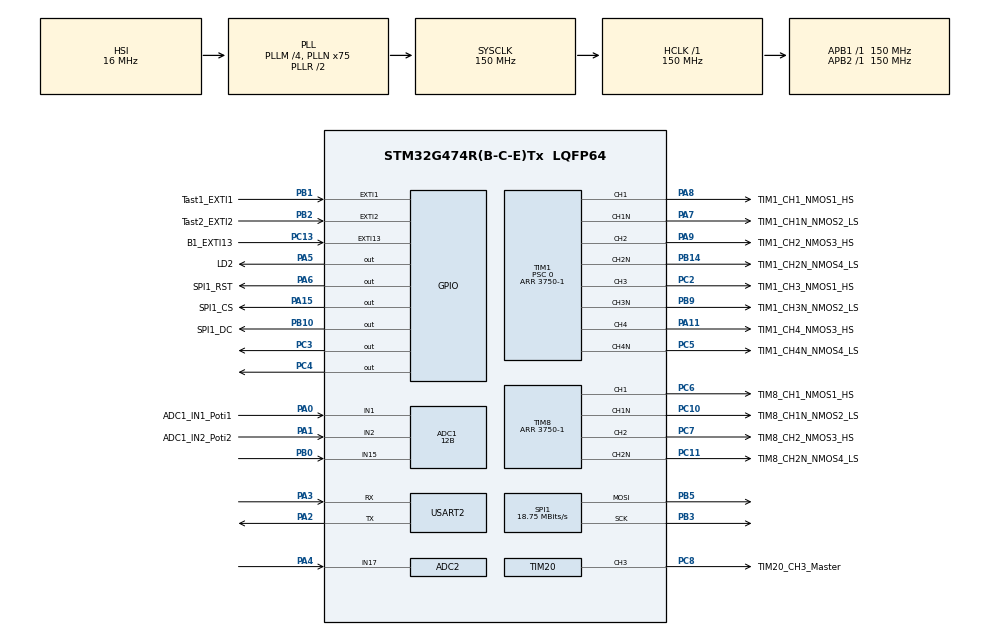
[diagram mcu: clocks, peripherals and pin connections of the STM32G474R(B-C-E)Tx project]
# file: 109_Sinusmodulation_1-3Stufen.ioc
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ADC1.Channel-2\#ChannelRegularConversion=ADC_CHANNEL_1
ADC1.Channel-3\#ChannelRegularConversion=ADC_CHANNEL_2
ADC1.Channel-4\#ChannelRegularConversion=ADC_CHANNEL_15
ADC1.ContinuousConvMode=ENABLE
ADC1.DMAContinuousRequests=ENABLE
ADC1.EOCSelection=ADC_EOC_SEQ_CONV
ADC1.NbrOfConversion=3
ADC1.NbrOfConversionFlag=1
ADC1.OffsetNumber-2\#ChannelRegularConversion=ADC_OFFSET_NONE
ADC1.OffsetNumber-3\#ChannelRegularConversion=ADC_OFFSET_NONE
ADC1.OffsetNumber-4\#ChannelRegularConversion=ADC_OFFSET_NONE
ADC1.Overrun=ADC_OVR_DATA_PRESERVED
ADC1.Rank-2\#ChannelRegularConversion=1
ADC1.Rank-3\#ChannelRegularConversion=2
ADC1.Rank-4\#ChannelRegularConversion=3
ADC1.Resolution=ADC_RESOLUTION_12B
ADC1.SamplingTime-2\#ChannelRegularConversion=ADC_SAMPLETIME_640CYCLES_5
ADC1.SamplingTime-3\#ChannelRegularConversion=ADC_SAMPLETIME_640CYCLES_5
ADC1.SamplingTime-4\#ChannelRegularConversion=ADC_SAMPLETIME_640CYCLES_5
ADC1.master=1
ADC2.Channel-0\#ChannelRegularConversion=ADC_CHANNEL_17
ADC2.ContinuousConvMode=ENABLE
ADC2.DMAContinuousRequests=ENABLE
ADC2.EOCSelection=ADC_EOC_SEQ_CONV
ADC2.NbrOfConversion=1
ADC2.NbrOfConversionFlag=1
ADC2.OffsetNumber-0\#ChannelRegularConversion=ADC_OFFSET_NONE
ADC2.Overrun=ADC_OVR_DATA_PRESERVED
ADC2.Rank-0\#ChannelRegularConversion=1
ADC2.Resolution=ADC_RESOLUTION_12B
ADC2.SamplingTime-0\#ChannelRegularConversion=ADC_SAMPLETIME_640CYCLES_5
Dma.ADC1.0.Direction=DMA_PERIPH_TO_MEMORY
Dma.ADC1.0.EventEnable=DISABLE
Dma.ADC1.0.Instance=DMA2_Channel1
Dma.ADC1.0.MemDataAlignment=DMA_MDATAALIGN_WORD
Dma.ADC1.0.MemInc=DMA_MINC_ENABLE
Dma.ADC1.0.Mode=DMA_CIRCULAR
Dma.ADC1.0.PeriphDataAlignment=DMA_PDATAALIGN_WORD
Dma.ADC1.0.PeriphInc=DMA_PINC_DISABLE
Dma.ADC1.0.Polarity=HAL_DMAMUX_REQ_GEN_RISING
Dma.ADC1.0.Priority=DMA_PRIORITY_LOW
Dma.ADC1.0.RequestNumber=1
Dma.ADC1.0.SignalID=NONE
Dma.ADC1.0.SyncEnable=DISABLE
Dma.ADC1.0.SyncPolarity=HAL_DMAMUX_SYNC_NO_EVENT
Dma.ADC1.0.SyncRequestNumber=1
Dma.ADC1.0.SyncSignalID=NONE
Dma.ADC2.1.Direction=DMA_PERIPH_TO_MEMORY
Dma.ADC2.1.EventEnable=DISABLE
Dma.ADC2.1.Instance=DMA1_Channel5
Dma.ADC2.1.MemDataAlignment=DMA_MDATAALIGN_WORD
Dma.ADC2.1.MemInc=DMA_MINC_ENABLE
Dma.ADC2.1.Mode=DMA_CIRCULAR
Dma.ADC2.1.PeriphDataAlignment=DMA_PDATAALIGN_WORD
Dma.ADC2.1.PeriphInc=DMA_PINC_DISABLE
Dma.ADC2.1.Polarity=HAL_DMAMUX_REQ_GEN_RISING
Dma.ADC2.1.Priority=DMA_PRIORITY_LOW
Dma.ADC2.1.RequestNumber=1
Dma.ADC2.1.SignalID=NONE
Dma.ADC2.1.SyncEnable=DISABLE
Dma.ADC2.1.SyncPolarity=HAL_DMAMUX_SYNC_NO_EVENT
Dma.ADC2.1.SyncRequestNumber=1
Dma.ADC2.1.SyncSignalID=NONE
Dma.Request0=ADC1
Dma.Request1=ADC2
Dma.Request2=TIM1_CH1
Dma.Request3=TIM1_CH2
Dma.Request4=TIM1_CH3
Dma.Request5=TIM1_CH4
Dma.Request6=TIM8_CH1
Dma.Request7=TIM8_CH2
Dma.TIM1_CH1.2.Direction=DMA_MEMORY_TO_PERIPH
Dma.TIM1_CH1.2.EventEnable=DISABLE
Dma.TIM1_CH1.2.Instance=DMA1_Channel1
Dma.TIM1_CH1.2.MemDataAlignment=DMA_MDATAALIGN_WORD
Dma.TIM1_CH1.2.MemInc=DMA_MINC_ENABLE
Dma.TIM1_CH1.2.Mode=DMA_CIRCULAR
Dma.TIM1_CH1.2.PeriphDataAlignment=DMA_PDATAALIGN_WORD
Dma.TIM1_CH1.2.PeriphInc=DMA_PINC_DISABLE
Dma.TIM1_CH1.2.Polarity=HAL_DMAMUX_REQ_GEN_RISING
Dma.TIM1_CH1.2.Priority=DMA_PRIORITY_LOW
Dma.TIM1_CH1.2.RequestNumber=1
Dma.TIM1_CH1.2.SignalID=NONE
Dma.TIM1_CH1.2.SyncEnable=DISABLE
Dma.TIM1_CH1.2.SyncPolarity=HAL_DMAMUX_SYNC_NO_EVENT
Dma.TIM1_CH1.2.SyncRequestNumber=1
Dma.TIM1_CH1.2.SyncSignalID=NONE
Dma.TIM1_CH2.3.Direction=DMA_MEMORY_TO_PERIPH
Dma.TIM1_CH2.3.EventEnable=DISABLE
Dma.TIM1_CH2.3.Instance=DMA1_Channel2
Dma.TIM1_CH2.3.MemDataAlignment=DMA_MDATAALIGN_WORD
Dma.TIM1_CH2.3.MemInc=DMA_MINC_ENABLE
Dma.TIM1_CH2.3.Mode=DMA_CIRCULAR
Dma.TIM1_CH2.3.PeriphDataAlignment=DMA_PDATAALIGN_WORD
Dma.TIM1_CH2.3.PeriphInc=DMA_PINC_DISABLE
Dma.TIM1_CH2.3.Polarity=HAL_DMAMUX_REQ_GEN_RISING
Dma.TIM1_CH2.3.Priority=DMA_PRIORITY_LOW
Dma.TIM1_CH2.3.RequestNumber=1
Dma.TIM1_CH2.3.SignalID=NONE
Dma.TIM1_CH2.3.SyncEnable=DISABLE
Dma.TIM1_CH2.3.SyncPolarity=HAL_DMAMUX_SYNC_NO_EVENT
Dma.TIM1_CH2.3.SyncRequestNumber=1
Dma.TIM1_CH2.3.SyncSignalID=NONE
Dma.TIM1_CH3.4.Direction=DMA_MEMORY_TO_PERIPH
Dma.TIM1_CH3.4.EventEnable=DISABLE
Dma.TIM1_CH3.4.Instance=DMA1_Channel3
Dma.TIM1_CH3.4.MemDataAlignment=DMA_MDATAALIGN_WORD
Dma.TIM1_CH3.4.MemInc=DMA_MINC_ENABLE
Dma.TIM1_CH3.4.Mode=DMA_CIRCULAR
Dma.TIM1_CH3.4.PeriphDataAlignment=DMA_PDATAALIGN_WORD
Dma.TIM1_CH3.4.PeriphInc=DMA_PINC_DISABLE
Dma.TIM1_CH3.4.Polarity=HAL_DMAMUX_REQ_GEN_RISING
Dma.TIM1_CH3.4.Priority=DMA_PRIORITY_LOW
Dma.TIM1_CH3.4.RequestNumber=1
Dma.TIM1_CH3.4.SignalID=NONE
Dma.TIM1_CH3.4.SyncEnable=DISABLE
Dma.TIM1_CH3.4.SyncPolarity=HAL_DMAMUX_SYNC_NO_EVENT
Dma.TIM1_CH3.4.SyncRequestNumber=1
Dma.TIM1_CH3.4.SyncSignalID=NONE
Dma.TIM1_CH4.5.Direction=DMA_MEMORY_TO_PERIPH
Dma.TIM1_CH4.5.EventEnable=DISABLE
Dma.TIM1_CH4.5.Instance=DMA1_Channel4
Dma.TIM1_CH4.5.MemDataAlignment=DMA_MDATAALIGN_WORD
Dma.TIM1_CH4.5.MemInc=DMA_MINC_ENABLE
Dma.TIM1_CH4.5.Mode=DMA_CIRCULAR
Dma.TIM1_CH4.5.PeriphDataAlignment=DMA_PDATAALIGN_WORD
Dma.TIM1_CH4.5.PeriphInc=DMA_PINC_DISABLE
Dma.TIM1_CH4.5.Polarity=HAL_DMAMUX_REQ_GEN_RISING
Dma.TIM1_CH4.5.Priority=DMA_PRIORITY_LOW
Dma.TIM1_CH4.5.RequestNumber=1
Dma.TIM1_CH4.5.SignalID=NONE
Dma.TIM1_CH4.5.SyncEnable=DISABLE
Dma.TIM1_CH4.5.SyncPolarity=HAL_DMAMUX_SYNC_NO_EVENT
Dma.TIM1_CH4.5.SyncRequestNumber=1
Dma.TIM1_CH4.5.SyncSignalID=NONE
Dma.TIM8_CH1.6.Direction=DMA_MEMORY_TO_PERIPH
Dma.TIM8_CH1.6.EventEnable=DISABLE
Dma.TIM8_CH1.6.Instance=DMA1_Channel6
Dma.TIM8_CH1.6.MemDataAlignment=DMA_MDATAALIGN_WORD
Dma.TIM8_CH1.6.MemInc=DMA_MINC_ENABLE
Dma.TIM8_CH1.6.Mode=DMA_CIRCULAR
Dma.TIM8_CH1.6.PeriphDataAlignment=DMA_PDATAALIGN_WORD
Dma.TIM8_CH1.6.PeriphInc=DMA_PINC_DISABLE
Dma.TIM8_CH1.6.Polarity=HAL_DMAMUX_REQ_GEN_RISING
Dma.TIM8_CH1.6.Priority=DMA_PRIORITY_LOW
Dma.TIM8_CH1.6.RequestNumber=1
Dma.TIM8_CH1.6.SignalID=NONE
Dma.TIM8_CH1.6.SyncEnable=DISABLE
Dma.TIM8_CH1.6.SyncPolarity=HAL_DMAMUX_SYNC_NO_EVENT
Dma.TIM8_CH1.6.SyncRequestNumber=1
Dma.TIM8_CH1.6.SyncSignalID=NONE
Dma.TIM8_CH2.7.Direction=DMA_MEMORY_TO_PERIPH
Dma.TIM8_CH2.7.EventEnable=DISABLE
Dma.TIM8_CH2.7.Instance=DMA1_Channel7
Dma.TIM8_CH2.7.MemDataAlignment=DMA_MDATAALIGN_WORD
Dma.TIM8_CH2.7.MemInc=DMA_MINC_ENABLE
Dma.TIM8_CH2.7.Mode=DMA_CIRCULAR
Dma.TIM8_CH2.7.PeriphDataAlignment=DMA_PDATAALIGN_WORD
Dma.TIM8_CH2.7.PeriphInc=DMA_PINC_DISABLE
Dma.TIM8_CH2.7.Polarity=HAL_DMAMUX_REQ_GEN_RISING
Dma.TIM8_CH2.7.Priority=DMA_PRIORITY_LOW
Dma.TIM8_CH2.7.RequestNumber=1
Dma.TIM8_CH2.7.SignalID=NONE
Dma.TIM8_CH2.7.SyncEnable=DISABLE
Dma.TIM8_CH2.7.SyncPolarity=HAL_DMAMUX_SYNC_NO_EVENT
Dma.TIM8_CH2.7.SyncRequestNumber=1
Dma.TIM8_CH2.7.SyncSignalID=NONE
Mcu.Family=STM32G4
Mcu.Name=STM32G474R(B-C-E)Tx
Mcu.Package=LQFP64
NVIC.DMA1_Channel1_IRQn=true\:0\:0\:false\:false\:true\:false\:true\:true
NVIC.DMA1_Channel2_IRQn=true\:0\:0\:false\:false\:true\:false\:true\:true
NVIC.DMA1_Channel3_IRQn=true\:0\:0\:false\:false\:true\:false\:true\:true
NVIC.DMA1_Channel4_IRQn=true\:0\:0\:false\:false\:true\:false\:true\:true
NVIC.DMA1_Channel5_IRQn=true\:0\:0\:false\:false\:true\:false\:true\:true
NVIC.DMA1_Channel6_IRQn=true\:0\:0\:false\:false\:true\:false\:true\:true
NVIC.DMA1_Channel7_IRQn=true\:0\:0\:false\:false\:true\:false\:true\:true
NVIC.DMA2_Channel1_IRQn=true\:0\:0\:false\:false\:true\:false\:true\:true
NVIC.EXTI15_10_IRQn=true\:0\:0\:false\:false\:true\:true\:true\:true
NVIC.EXTI1_IRQn=true\:0\:0\:false\:false\:true\:true\:true\:true
NVIC.EXTI2_IRQn=true\:0\:0\:false\:false\:true\:true\:true\:true
NVIC.PriorityGroup=NVIC_PRIORITYGROUP_4
NVIC.TIM1_TRG_COM_TIM17_IRQn=true\:0\:0\:false\:false\:true\:true\:true\:true
NVIC.TIM1_UP_TIM16_IRQn=true\:0\:0\:false\:false\:true\:true\:true\:true
PA0.GPIO_Label=ADC1_IN1_Poti1
PA0.Mode=IN1-Single-Ended
PA0.Signal=ADC1_IN1
PA1.GPIO_Label=ADC1_IN2_Poti2
PA1.Mode=IN2-Single-Ended
PA1.Signal=ADC1_IN2
PA11.GPIO_Label=TIM1_CH4_NMOS3_HS
PA11.GPIO_PuPd=GPIO_PULLDOWN
PA11.Signal=S_TIM1_CH4
PA13.Mode=Serial_Wire
PA13.Signal=SYS_JTMS-SWDIO
PA14.Mode=Serial_Wire
PA14.Signal=SYS_JTCK-SWCLK
PA15.GPIO_Label=SPI1_CS
PA15.Signal=GPIO_Output
PA2.Mode=Asynchronous
PA2.Signal=USART2_TX
PA3.Mode=Asynchronous
PA3.Signal=USART2_RX
PA4.Mode=IN17-Single-Ended
PA4.Signal=ADC2_IN17
PA5.GPIO_Label=LD2
PA5.Signal=GPIO_Output
PA6.GPIO_Label=SPI1_RST
PA6.Signal=GPIO_Output
PA7.GPIO_Label=TIM1_CH1N_NMOS2_LS
PA7.GPIO_ModeDefaultPP=GPIO_MODE_AF_PP
PA7.GPIO_PuPd=GPIO_PULLDOWN
PA7.GPIO_Speed=GPIO_SPEED_FREQ_LOW
PA7.Mode=PWM Generation1 CH1 CH1N
PA7.Signal=TIM1_CH1N
PA8.GPIO_Label=TIM1_CH1_NMOS1_HS
PA8.GPIO_ModeDefaultPP=GPIO_MODE_AF_PP
PA8.GPIO_PuPd=GPIO_PULLDOWN
PA8.GPIO_Speed=GPIO_SPEED_FREQ_LOW
PA8.Signal=S_TIM1_CH1
PA9.GPIO_Label=TIM1_CH2_NMOS3_HS
PA9.GPIO_ModeDefaultPP=GPIO_MODE_AF_PP
PA9.GPIO_PuPd=GPIO_PULLDOWN
PA9.Signal=S_TIM1_CH2
PB0.Mode=IN15-Single-Ended
PB0.Signal=ADC1_IN15
PB1.GPIO_Label=Tast1_EXTI1
PB1.GPIO_ModeDefaultEXTI=GPIO_MODE_IT_RISING
PB1.GPIO_PuPd=GPIO_PULLDOWN
PB1.Signal=GPXTI1
PB10.GPIO_Label=SPI1_DC
PB10.Signal=GPIO_Output
PB14.GPIO_Label=TIM1_CH2N_NMOS4_LS
PB14.GPIO_ModeDefaultPP=GPIO_MODE_AF_PP
PB14.GPIO_PuPd=GPIO_PULLDOWN
PB14.Mode=PWM Generation2 CH2 CH2N
PB14.Signal=TIM1_CH2N
PB2.GPIO_Label=Tast2_EXTI2
PB2.GPIO_PuPd=GPIO_PULLDOWN
PB2.Signal=GPXTI2
PB3.Mode=TX_Only_Simplex_Unidirect_Master
PB3.Signal=SPI1_SCK
PB5.Mode=TX_Only_Simplex_Unidirect_Master
PB5.Signal=SPI1_MOSI
PB9.GPIO_Label=TIM1_CH3N_NMOS2_LS
PB9.GPIO_PuPd=GPIO_PULLDOWN
PB9.Mode=PWM Generation3 CH3 CH3N
PB9.Signal=TIM1_CH3N
PC10.GPIO_Label=TIM8_CH1N_NMOS2_LS
PC10.GPIO_PuPd=GPIO_PULLDOWN
PC10.Mode=PWM Generation1 CH1 CH1N
PC10.Signal=TIM8_CH1N
PC11.GPIO_Label=TIM8_CH2N_NMOS4_LS
PC11.GPIO_PuPd=GPIO_PULLDOWN
PC11.Mode=PWM Generation2 CH2 CH2N
PC11.Signal=TIM8_CH2N
PC13.GPIO_Label=B1_EXTI13
PC13.GPIO_ModeDefaultEXTI=GPIO_MODE_IT_RISING
PC13.GPIO_PuPd=GPIO_NOPULL
PC13.Signal=GPXTI13
PC2.GPIO_Label=TIM1_CH3_NMOS1_HS
PC2.GPIO_PuPd=GPIO_PULLDOWN
PC2.Signal=S_TIM1_CH3
PC3.GPIO_PuPd=GPIO_PULLDOWN
PC3.Signal=GPIO_Output
PC4.Signal=GPIO_Output
PC5.GPIO_Label=TIM1_CH4N_NMOS4_LS
PC5.GPIO_PuPd=GPIO_PULLDOWN
PC5.Mode=PWM Generation4 CH4 CH4N
PC5.Signal=TIM1_CH4N
PC6.GPIO_Label=TIM8_CH1_NMOS1_HS
PC6.GPIO_PuPd=GPIO_PULLDOWN
PC6.Signal=S_TIM8_CH1
PC7.GPIO_Label=TIM8_CH2_NMOS3_HS
PC7.GPIO_PuPd=GPIO_PULLDOWN
PC7.Signal=S_TIM8_CH2
PC8.GPIO_Label=TIM20_CH3_Master
PC8.GPIO_PuPd=GPIO_PULLUP
PC8.Signal=S_TIM20_CH3
PF0-OSC_IN.Mode=HSE-External-Oscillator
PF0-OSC_IN.Signal=RCC_OSC_IN
PF1-OSC_OUT.Mode=HSE-External-Oscillator
PF1-OSC_OUT.Signal=RCC_OSC_OUT
ProjectManager.HeapSize=0x200
ProjectManager.StackSize=0x400
ProjectManager.TargetToolchain=STM32CubeIDE
RCC.ADC12Freq_Value=150000000
RCC.ADC345Freq_Value=150000000
RCC.AHBFreq_Value=150000000
RCC.APB1Freq_Value=150000000
RCC.APB1TimFreq_Value=150000000
RCC.APB2Freq_Value=150000000
RCC.APB2TimFreq_Value=150000000
RCC.CortexFreq_Value=150000000
RCC.EXTERNAL_CLOCK_VALUE=12288000
RCC.HCLKFreq_Value=150000000
RCC.HSE_VALUE=48000000
RCC.HSI48_VALUE=48000000
RCC.HSI_VALUE=16000000
RCC.LSE_VALUE=32768
RCC.PLLM=RCC_PLLM_DIV4
RCC.PLLN=75
RCC.SYSCLKFreq_VALUE=150000000
RCC.SYSCLKSource=RCC_SYSCLKSOURCE_PLLCLK
RCC.USBFreq_Value=150000000
RCC.VCOOutputFreq_Value=300000000
SH.S_TIM1_CH1.0=TIM1_CH1,PWM Generation1 CH1 CH1N
SH.S_TIM1_CH2.0=TIM1_CH2,PWM Generation2 CH2 CH2N
SH.S_TIM1_CH3.0=TIM1_CH3,PWM Generation3 CH3 CH3N
SH.S_TIM1_CH4.0=TIM1_CH4,PWM Generation4 CH4 CH4N
SH.S_TIM20_CH3.0=TIM20_CH3,PWM Generation3 CH3
SH.S_TIM8_CH1.0=TIM8_CH1,PWM Generation1 CH1 CH1N
SH.S_TIM8_CH2.0=TIM8_CH2,PWM Generation2 CH2 CH2N
SPI1.BaudRatePrescaler=SPI_BAUDRATEPRESCALER_8
SPI1.CLKPolarity=SPI_POLARITY_LOW
SPI1.CalculateBaudRate=18.75 MBits/s
SPI1.DataSize=SPI_DATASIZE_8BIT
SPI1.Direction=SPI_DIRECTION_2LINES
SPI1.Mode=SPI_MODE_MASTER
SPI1.VirtualType=VM_MASTER
TIM1.AsymmetricalDeadTime=DISABLE
TIM1.AutoReloadPreload=TIM_AUTORELOAD_PRELOAD_ENABLE
TIM1.AutomaticOutput=TIM_AUTOMATICOUTPUT_ENABLE
TIM1.Channel-PWM\ Generation1\ CH1\ CH1N=TIM_CHANNEL_1
TIM1.Channel-PWM\ Generation2\ CH2\ CH2N=TIM_CHANNEL_2
TIM1.Channel-PWM\ Generation3\ CH3\ CH3N=TIM_CHANNEL_3
TIM1.Channel-PWM\ Generation4\ CH4\ CH4N=TIM_CHANNEL_4
TIM1.CounterMode=TIM_COUNTERMODE_CENTERALIGNED2
TIM1.DeadTime=139
TIM1.OCFastMode_PWM-PWM\ Generation1\ CH1\ CH1N=TIM_OCFAST_ENABLE
TIM1.OCFastMode_PWM-PWM\ Generation2\ CH2\ CH2N=TIM_OCFAST_ENABLE
TIM1.OCFastMode_PWM-PWM\ Generation3\ CH3\ CH3N=TIM_OCFAST_ENABLE
TIM1.OCFastMode_PWM-PWM\ Generation4\ CH4\ CH4N=TIM_OCFAST_ENABLE
TIM1.OCIdleState_1=TIM_OCIDLESTATE_RESET
TIM1.OCIdleState_2=TIM_OCIDLESTATE_RESET
TIM1.OCMode_PWM-PWM\ Generation2\ CH2\ CH2N=TIM_OCMODE_PWM2
TIM1.OCMode_PWM-PWM\ Generation4\ CH4\ CH4N=TIM_OCMODE_PWM2
TIM1.OCNIdleState_1=TIM_OCNIDLESTATE_RESET
TIM1.OCNIdleState_2=TIM_OCNIDLESTATE_RESET
TIM1.OCNPolarity_1=TIM_OCNPOLARITY_HIGH
TIM1.OCNPolarity_2=TIM_OCNPOLARITY_HIGH
TIM1.OCPolarity_1=TIM_OCPOLARITY_HIGH
TIM1.OCPolarity_2=TIM_OCPOLARITY_HIGH
TIM1.OffStateIDLEMode=TIM_OSSI_DISABLE
TIM1.OffStateRunMode=TIM_OSSR_DISABLE
TIM1.PeriodNoDither=3750-1
TIM1.Prescaler=0
TIM1.RepetitionCounter=0
TIM1.TIM_MasterOutputTrigger=TIM_TRGO_RESET
TIM1.TIM_MasterOutputTrigger2=TIM_TRGO2_RESET
TIM15.PeriodNoDither=7500-1
TIM15.Prescaler=0
TIM15.TIM_MasterOutputTrigger=TIM_TRGO_UPDATE
TIM15.TIM_MasterSlaveMode=TIM_MASTERSLAVEMODE_ENABLE
TIM16.PeriodNoDither=1000
TIM16.Prescaler=15000 - 1
TIM17.PeriodNoDither=5000
TIM17.Prescaler=15000-1
TIM20.Channel-PWM\ Generation3\ CH3=TIM_CHANNEL_3
TIM20.CounterMode=TIM_COUNTERMODE_CENTERALIGNED2
TIM20.OCPolarity_3=TIM_OCPOLARITY_LOW
TIM20.PeriodNoDither=3750-1
TIM20.PulseNoDither_3=1875-1
TIM20.TIM_MasterOutputTrigger=TIM_TRGO_ENABLE
TIM8.AutoReloadPreload=TIM_AUTORELOAD_PRELOAD_ENABLE
TIM8.AutomaticOutput=TIM_AUTOMATICOUTPUT_ENABLE
TIM8.Channel-PWM\ Generation1\ CH1\ CH1N=TIM_CHANNEL_1
TIM8.Channel-PWM\ Generation2\ CH2\ CH2N=TIM_CHANNEL_2
TIM8.CounterMode=TIM_COUNTERMODE_CENTERALIGNED2
TIM8.DeadTime=139
TIM8.OCFastMode_PWM-PWM\ Generation1\ CH1\ CH1N=TIM_OCFAST_ENABLE
TIM8.OCFastMode_PWM-PWM\ Generation2\ CH2\ CH2N=TIM_OCFAST_ENABLE
TIM8.OCMode_PWM-PWM\ Generation2\ CH2\ CH2N=TIM_OCMODE_PWM2
TIM8.PeriodNoDither=3750-1
USART2.VirtualMode-Asynchronous=VM_ASYNC
VP_SYS_VS_DBSignals.Mode=DisableDeadBatterySignals
VP_TIM15_VS_ClockSourceINT.Mode=Internal
VP_TIM16_VS_ClockSourceINT.Mode=Enable_Timer
VP_TIM17_VS_ClockSourceINT.Mode=Enable_Timer
VP_TIM1_VS_ClockSourceINT.Mode=Internal
VP_TIM1_VS_ClockSourceITR.Mode=TriggerSource_ITR9
VP_TIM1_VS_ControllerModeTrigger.Mode=Trigger Mode
VP_TIM20_VS_ClockSourceINT.Mode=Internal
VP_TIM8_VS_ClockSourceINT.Mode=Internal
VP_TIM8_VS_ClockSourceITR.Mode=TriggerSource_ITR9
VP_TIM8_VS_ControllerModeTrigger.Mode=Trigger Mode
board=custom

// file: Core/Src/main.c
/* USER CODE BEGIN Header */
/**
 ******************************************************************************
 * @file           : main.c
 * @brief          : Main program body
 ******************************************************************************
 Mit diesem Code wird ein Sinussignal mit 4 PWM Signalen moduliert. Der Code ist
 für eine H-Brücke geeignet.

 State IDLE:
 Im State IDLE sind die ADC-Messungen und PWM Signale gestoppt.

 State SINUS_MOD:
 Im State ADC_Values werden die ADC Werte auf dem Display und in der Putty Konsole angezeigt.
 Wenn ein Taster gedrückt wird, erfolgt eine Meldung auf dem Display und in der Konsole.
 Die ADC Werte werden mit dem DMA direkt vom ADC in die Arrays AD_RES_BUFFER_ADC1
 und AD_RES_BUFFER_ADC2 übertragen. Dies benötigt keine CPU Zeit und es können mehrere Kanäle
 eines ADCs ausgelesen werden ohne das die HAL neu konfiguriert werden muss.
 Mit der Timer Callback Funktion HAL_TIM_PeriodElapsedCallback wird das Display und
 die Konsole alle 0.5s aktualisiert.
 Die PWM Signale können dynamisch mit der funktion in Bezug auf die Frequenz f0
 und Amplitude A0 erzeugt werden. Die LookUp Tabelle welche für das CCR Register der
 Timerbausteine erstellt wird, wird in der Konsole beim Übergang vom State IDLE
 zum State SINUS_MOD angezeigt. Die dynamische allozierung ist in der Funktion
 set_pwm_values() umgesetzt und die Freigabe des Speichers erfolt im leave der
 State Machine.

 Der Blaue User Button B1 wird für die Umschaltung zwischen den States verwendet.
 Die externen Buttons haben zurzeit noch keine Funktion.

 ******************************************************************************
 */
/* USER CODE END Header */
#include "main.h"

/* USER CODE BEGIN Includes */
#include "ST7735.h"
#include "GFX_FUNCTIONS.h"
#include "task_handler.h"
#include <stdbool.h>
#include <math.h>
/* USER CODE END Includes */

ADC_HandleTypeDef hadc1;
ADC_HandleTypeDef hadc2;
DMA_HandleTypeDef hdma_adc1;
DMA_HandleTypeDef hdma_adc2;

SPI_HandleTypeDef hspi1;

TIM_HandleTypeDef htim1;
TIM_HandleTypeDef htim8;
TIM_HandleTypeDef htim15;
TIM_HandleTypeDef htim16;
TIM_HandleTypeDef htim17;
TIM_HandleTypeDef htim20;
DMA_HandleTypeDef hdma_tim1_ch1;
DMA_HandleTypeDef hdma_tim1_ch2;
DMA_HandleTypeDef hdma_tim1_ch3;
DMA_HandleTypeDef hdma_tim1_ch4;
DMA_HandleTypeDef hdma_tim8_ch1;
DMA_HandleTypeDef hdma_tim8_ch2;

UART_HandleTypeDef huart2;

void SystemClock_Config(void);
static void MX_GPIO_Init(void);
static void MX_DMA_Init(void);
static void MX_SPI1_Init(void);
static void MX_TIM16_Init(void);
static void MX_ADC1_Init(void);
static void MX_USART2_UART_Init(void);
static void MX_TIM17_Init(void);
static void MX_ADC2_Init(void);
static void MX_TIM1_Init(void);
static void MX_TIM8_Init(void);
static void MX_TIM15_Init(void);
static void MX_TIM20_Init(void);

/* USER CODE BEGIN 0 */
/* Interrupts *****************************************************************/
// GPIO Callback
void HAL_GPIO_EXTI_Callback(uint16_t GPIO_Pin) {
	// Variables
	uint8_t next_line = get_next_line(); // Offset in pixel
	char msg_console[80];
	char msg_display[20];
	/* Prevent unused argument(s) compilation warning */
	UNUSED(GPIO_Pin);
	// Interrupt Routine
	switch (GPIO_Pin) {
	case B1_EXTI13_Pin: // B1 pressed
		switch (handler_state) {
		case IDLE:
			set_handler_state(SINUS_MOD);
			break;
		case SINUS_MOD:
			set_handler_state(IDLE);
			break;
		default:
			set_handler_state(IDLE);
			break;
		}
		break;
	case Tast1_EXTI1_Pin: // Taster1 pressed
		// Display
		// Clear Last Button Message
		ST7735_FillRectangle(0, 7 * next_line, 0, next_line, BLACK);
		sprintf(msg_display, "Taster1 gedrueckt!");
		ST7735_WriteString(0, 8 * next_line, msg_display, Font_7x10, GREEN,
		BLACK);
		// Console
		sprintf(msg_console, "Taster1 gedrückt! \r\n");
		HAL_UART_Transmit(&huart2, (uint8_t*) msg_console, strlen(msg_console),
		HAL_MAX_DELAY);
		break;
	case Tast2_EXTI2_Pin: // Taster2 pressed
		// Display
		// Clear Last Button Message
		ST7735_FillRectangle(0, 7 * next_line, 0, next_line, BLACK);
		sprintf(msg_display, "Taster2 gedrueckt!");
		ST7735_WriteString(0, 8 * next_line, msg_display, Font_7x10, GREEN,
		BLACK);
		// Console
		sprintf(msg_console, "Taster2 gedrückt! \r\n");
		HAL_UART_Transmit(&huart2, (uint8_t*) msg_console, strlen(msg_console),
		HAL_MAX_DELAY);
		break;
	default:
		break;
	}
}

// Timer timeout Callback
void HAL_TIM_PeriodElapsedCallback(TIM_HandleTypeDef *htim) {
	// Variables
	uint8_t next_line = get_next_line(); // Offset in pixel
	char msg_console[80];
	char msg_display[20];
	uint32_t f0 = get_f0();
	float A0 = get_A0();
	// Überprüfe welcher Timer diese callback Funktion aufruft
	// time_val um 100ms inkrementieren
	if (htim == &htim16) {
		if (handler_state == SINUS_MOD) {
			inc_handler_currentTime(100);
		}
	}
	// Display und Konsole alle 0.5s aktualisieren
	else if (htim == &htim17) {
		switch (handler_state) {
		case IDLE:
			ST7735_WriteString(0, 4 * next_line, "Poti1: xx", Font_7x10, GREEN,
			BLACK);
			ST7735_WriteString(0, 5 * next_line, "Poti2: xx", Font_7x10, GREEN,
			BLACK);
//			ST7735_WriteString(0, 6 * next_line, "BNC1: xx", Font_7x10, GREEN,
//			BLACK);
//			ST7735_WriteString(0, 7 * next_line, "BNC2: xx", Font_7x10, GREEN,
//			BLACK);
			break;
		case SINUS_MOD:
			// Display
			adc_values *ptr = get_adc_values();
			sprintf(msg_display, "Poti1: %2.2fV", ptr->poti1_Vf);
			ST7735_WriteString(0, 4 * next_line, msg_display, Font_7x10, GREEN,
			BLACK);
			sprintf(msg_display, "Poti2: %2.2fV", ptr->poti2_Vf);
			ST7735_WriteString(0, 5 * next_line, msg_display, Font_7x10, GREEN,
			BLACK);
//			sprintf(msg_display, "BNC1:  %2.2fV", ptr->bnc1_Vf);
//			ST7735_WriteString(0, 3 * next_line, msg_display, Font_7x10, GREEN,
//			BLACK);
//			sprintf(msg_display, "BNC2:  %2.2fV", ptr->bnc2_Vf);
//			ST7735_WriteString(0, 4 * next_line, msg_display, Font_7x10, GREEN,
//			BLACK);
			sprintf(msg_display, "f0 =%4luHz", f0);
			ST7735_WriteString(0, 6 * next_line, msg_display, Font_7x10, GREEN,
			BLACK);
			sprintf(msg_display, "A0 =  %2.0f%%", 100.0 * A0);
			ST7735_WriteString(0, 7 * next_line, msg_display, Font_7x10, GREEN,
			BLACK);
			// Console
			sprintf(msg_console,
					"Poti1: %2.2fV | Poti2: %2.2fV | bnc1: %2.2fV | bnc2: %2.2fV \r\n", //| f0 = %4luHz | A0 = %2.2f%% \r\n",
					ptr->poti1_Vf, ptr->poti2_Vf, ptr->bnc1_Vf, ptr->bnc2_Vf); //, f0, 100.0*A0);
			HAL_UART_Transmit(&huart2, (uint8_t*) msg_console,
					strlen(msg_console), HAL_MAX_DELAY);
			break;
		default:
			set_handler_state(IDLE);
			break;
		}
	}
}

/* ADC *******************************************************************/
// DMA Callback
// Diese Callback Funktion kann aktiviert werden, wenn der DMA Transfer überprüft werden soll.
//void HAL_ADC_ConvCpltCallback(ADC_HandleTypeDef* hadc)
//{
//    // Conversion Complete & DMA Transfer Complete As Well
//    // So The AD_RES_BUFFER Is Now Updated & Let's Move Values To The PWM CCRx
//    // Update The PWM Channels With Latest ADC Scan Conversion Results
//	if(hadc == &hadc1)
//	{
//	    uint16_t poti1_raw = (AD_RES_BUFFER_ADC1[0] << 4); // Map 12 Bit to 16 Bit values
//	    poti1_V = (3.3*(float)poti1_raw)/65535;
//	    uint16_t poti2_raw = (AD_RES_BUFFER_ADC1[1] << 4);
//	    poti2_V = (3.3*(float)poti2_raw)/65535;
//	    uint16_t bnc1_raw = (AD_RES_BUFFER_ADC1[2] << 4);
//	    bnc1_V = (3.3*(float)bnc1_raw)/65535;
//	}
//	else if(hadc == &hadc2)
//	{
//	    uint16_t bnc2_raw = (AD_RES_BUFFER_ADC2[0] << 4);
//	    bnc2_V = (3.3*(float)bnc2_raw)/65535;
//	}
//}
/* USER CODE END 0 */

int main(void)
{

  /* MCU Configuration--------------------------------------------------------*/

  /* Reset of all peripherals, Initializes the Flash interface and the Systick. */
  HAL_Init();

  /* Configure the system clock */
  SystemClock_Config();

  /* Initialize all configured peripherals */
  MX_GPIO_Init();
  MX_DMA_Init();
  MX_SPI1_Init();
  MX_TIM16_Init();
  MX_ADC1_Init();
  MX_USART2_UART_Init();
  MX_TIM17_Init();
  MX_ADC2_Init();
  MX_TIM1_Init();
  MX_TIM8_Init();
  MX_TIM15_Init();
  MX_TIM20_Init();
  /* USER CODE BEGIN 2 */

	// Display Init
	ST7735_Init(1);
	fillScreen(BLACK);

	// Set first State
	set_handler_state(IDLE);

  /* USER CODE END 2 */

  /* Infinite loop */
	while (1) {

    /* USER CODE BEGIN 3 */
		// Run StateMachine
		handler_task();
	}
  /* USER CODE END 3 */
}

void SystemClock_Config(void)
{
  RCC_OscInitTypeDef RCC_OscInitStruct = {0};
  RCC_ClkInitTypeDef RCC_ClkInitStruct = {0};

  /** Configure the main internal regulator output voltage
  */
  HAL_PWREx_ControlVoltageScaling(PWR_REGULATOR_VOLTAGE_SCALE1);

  /** Initializes the RCC Oscillators according to the specified parameters
  * in the RCC_OscInitTypeDef structure.
  */
  RCC_OscInitStruct.OscillatorType = RCC_OSCILLATORTYPE_HSI;
  RCC_OscInitStruct.HSIState = RCC_HSI_ON;
  RCC_OscInitStruct.HSICalibrationValue = RCC_HSICALIBRATION_DEFAULT;
  RCC_OscInitStruct.PLL.PLLState = RCC_PLL_ON;
  RCC_OscInitStruct.PLL.PLLSource = RCC_PLLSOURCE_HSI;
  RCC_OscInitStruct.PLL.PLLM = RCC_PLLM_DIV4;
  RCC_OscInitStruct.PLL.PLLN = 75;
  RCC_OscInitStruct.PLL.PLLP = RCC_PLLP_DIV2;
  RCC_OscInitStruct.PLL.PLLQ = RCC_PLLQ_DIV2;
  RCC_OscInitStruct.PLL.PLLR = RCC_PLLR_DIV2;
  if (HAL_RCC_OscConfig(&RCC_OscInitStruct) != HAL_OK)
  {
    Error_Handler();
  }

  /** Initializes the CPU, AHB and APB buses clocks
  */
  RCC_ClkInitStruct.ClockType = RCC_CLOCKTYPE_HCLK|RCC_CLOCKTYPE_SYSCLK
                              |RCC_CLOCKTYPE_PCLK1|RCC_CLOCKTYPE_PCLK2;
  RCC_ClkInitStruct.SYSCLKSource = RCC_SYSCLKSOURCE_PLLCLK;
  RCC_ClkInitStruct.AHBCLKDivider = RCC_SYSCLK_DIV1;
  RCC_ClkInitStruct.APB1CLKDivider = RCC_HCLK_DIV1;
  RCC_ClkInitStruct.APB2CLKDivider = RCC_HCLK_DIV1;

  if (HAL_RCC_ClockConfig(&RCC_ClkInitStruct, FLASH_LATENCY_4) != HAL_OK)
  {
    Error_Handler();
  }
}

static void MX_ADC1_Init(void)
{

  ADC_MultiModeTypeDef multimode = {0};
  ADC_ChannelConfTypeDef sConfig = {0};

  /** Common config
  */
  hadc1.Instance = ADC1;
  hadc1.Init.ClockPrescaler = ADC_CLOCK_SYNC_PCLK_DIV4;
  hadc1.Init.Resolution = ADC_RESOLUTION_12B;
  hadc1.Init.DataAlign = ADC_DATAALIGN_RIGHT;
  hadc1.Init.GainCompensation = 0;
  hadc1.Init.ScanConvMode = ADC_SCAN_ENABLE;
  hadc1.Init.EOCSelection = ADC_EOC_SEQ_CONV;
  hadc1.Init.LowPowerAutoWait = DISABLE;
  hadc1.Init.ContinuousConvMode = ENABLE;
  hadc1.Init.NbrOfConversion = 3;
  hadc1.Init.DiscontinuousConvMode = DISABLE;
  hadc1.Init.ExternalTrigConv = ADC_SOFTWARE_START;
  hadc1.Init.ExternalTrigConvEdge = ADC_EXTERNALTRIGCONVEDGE_NONE;
  hadc1.Init.DMAContinuousRequests = ENABLE;
  hadc1.Init.Overrun = ADC_OVR_DATA_PRESERVED;
  hadc1.Init.OversamplingMode = DISABLE;
  if (HAL_ADC_Init(&hadc1) != HAL_OK)
  {
    Error_Handler();
  }

  /** Configure the ADC multi-mode
  */
  multimode.Mode = ADC_MODE_INDEPENDENT;
  if (HAL_ADCEx_MultiModeConfigChannel(&hadc1, &multimode) != HAL_OK)
  {
    Error_Handler();
  }

  /** Configure Regular Channel
  */
  sConfig.Channel = ADC_CHANNEL_1;
  sConfig.Rank = ADC_REGULAR_RANK_1;
  sConfig.SamplingTime = ADC_SAMPLETIME_640CYCLES_5;
  sConfig.SingleDiff = ADC_SINGLE_ENDED;
  sConfig.OffsetNumber = ADC_OFFSET_NONE;
  sConfig.Offset = 0;
  if (HAL_ADC_ConfigChannel(&hadc1, &sConfig) != HAL_OK)
  {
    Error_Handler();
  }

  /** Configure Regular Channel
  */
  sConfig.Channel = ADC_CHANNEL_2;
  sConfig.Rank = ADC_REGULAR_RANK_2;
  if (HAL_ADC_ConfigChannel(&hadc1, &sConfig) != HAL_OK)
  {
    Error_Handler();
  }

  /** Configure Regular Channel
  */
  sConfig.Channel = ADC_CHANNEL_15;
  sConfig.Rank = ADC_REGULAR_RANK_3;
  if (HAL_ADC_ConfigChannel(&hadc1, &sConfig) != HAL_OK)
  {
    Error_Handler();
  }

}

static void MX_ADC2_Init(void)
{

  ADC_ChannelConfTypeDef sConfig = {0};

  /** Common config
  */
  hadc2.Instance = ADC2;
  hadc2.Init.ClockPrescaler = ADC_CLOCK_SYNC_PCLK_DIV4;
  hadc2.Init.Resolution = ADC_RESOLUTION_12B;
  hadc2.Init.DataAlign = ADC_DATAALIGN_RIGHT;
  hadc2.Init.GainCompensation = 0;
  hadc2.Init.ScanConvMode = ADC_SCAN_DISABLE;
  hadc2.Init.EOCSelection = ADC_EOC_SEQ_CONV;
  hadc2.Init.LowPowerAutoWait = DISABLE;
  hadc2.Init.ContinuousConvMode = ENABLE;
  hadc2.Init.NbrOfConversion = 1;
  hadc2.Init.DiscontinuousConvMode = DISABLE;
  hadc2.Init.ExternalTrigConv = ADC_SOFTWARE_START;
  hadc2.Init.ExternalTrigConvEdge = ADC_EXTERNALTRIGCONVEDGE_NONE;
  hadc2.Init.DMAContinuousRequests = ENABLE;
  hadc2.Init.Overrun = ADC_OVR_DATA_PRESERVED;
  hadc2.Init.OversamplingMode = DISABLE;
  if (HAL_ADC_Init(&hadc2) != HAL_OK)
  {
    Error_Handler();
  }

  /** Configure Regular Channel
  */
  sConfig.Channel = ADC_CHANNEL_17;
  sConfig.Rank = ADC_REGULAR_RANK_1;
  sConfig.SamplingTime = ADC_SAMPLETIME_640CYCLES_5;
  sConfig.SingleDiff = ADC_SINGLE_ENDED;
  sConfig.OffsetNumber = ADC_OFFSET_NONE;
  sConfig.Offset = 0;
  if (HAL_ADC_ConfigChannel(&hadc2, &sConfig) != HAL_OK)
  {
    Error_Handler();
  }

}

static void MX_SPI1_Init(void)
{

  /* SPI1 parameter configuration*/
  hspi1.Instance = SPI1;
  hspi1.Init.Mode = SPI_MODE_MASTER;
  hspi1.Init.Direction = SPI_DIRECTION_2LINES;
  hspi1.Init.DataSize = SPI_DATASIZE_8BIT;
  hspi1.Init.CLKPolarity = SPI_POLARITY_LOW;
  hspi1.Init.CLKPhase = SPI_PHASE_1EDGE;
  hspi1.Init.NSS = SPI_NSS_SOFT;
  hspi1.Init.BaudRatePrescaler = SPI_BAUDRATEPRESCALER_8;
  hspi1.Init.FirstBit = SPI_FIRSTBIT_MSB;
  hspi1.Init.TIMode = SPI_TIMODE_DISABLE;
  hspi1.Init.CRCCalculation = SPI_CRCCALCULATION_DISABLE;
  hspi1.Init.CRCPolynomial = 7;
  hspi1.Init.CRCLength = SPI_CRC_LENGTH_DATASIZE;
  hspi1.Init.NSSPMode = SPI_NSS_PULSE_ENABLE;
  if (HAL_SPI_Init(&hspi1) != HAL_OK)
  {
    Error_Handler();
  }

}

static void MX_TIM1_Init(void)
{

  TIM_ClockConfigTypeDef sClockSourceConfig = {0};
  TIM_SlaveConfigTypeDef sSlaveConfig = {0};
  TIM_MasterConfigTypeDef sMasterConfig = {0};
  TIM_OC_InitTypeDef sConfigOC = {0};
  TIM_BreakDeadTimeConfigTypeDef sBreakDeadTimeConfig = {0};

  htim1.Instance = TIM1;
  htim1.Init.Prescaler = 0;
  htim1.Init.CounterMode = TIM_COUNTERMODE_CENTERALIGNED2;
  htim1.Init.Period = 3749;
  htim1.Init.ClockDivision = TIM_CLOCKDIVISION_DIV1;
  htim1.Init.RepetitionCounter = 0;
  htim1.Init.AutoReloadPreload = TIM_AUTORELOAD_PRELOAD_ENABLE;
  if (HAL_TIM_Base_Init(&htim1) != HAL_OK)
  {
    Error_Handler();
  }
  sClockSourceConfig.ClockSource = TIM_CLOCKSOURCE_INTERNAL;
  if (HAL_TIM_ConfigClockSource(&htim1, &sClockSourceConfig) != HAL_OK)
  {
    Error_Handler();
  }
  if (HAL_TIM_PWM_Init(&htim1) != HAL_OK)
  {
    Error_Handler();
  }
  sSlaveConfig.SlaveMode = TIM_SLAVEMODE_TRIGGER;
  sSlaveConfig.InputTrigger = TIM_TS_ITR9;
  if (HAL_TIM_SlaveConfigSynchro(&htim1, &sSlaveConfig) != HAL_OK)
  {
    Error_Handler();
  }
  sMasterConfig.MasterOutputTrigger = TIM_TRGO_RESET;
  sMasterConfig.MasterOutputTrigger2 = TIM_TRGO2_RESET;
  sMasterConfig.MasterSlaveMode = TIM_MASTERSLAVEMODE_DISABLE;
  if (HAL_TIMEx_MasterConfigSynchronization(&htim1, &sMasterConfig) != HAL_OK)
  {
    Error_Handler();
  }
  sConfigOC.OCMode = TIM_OCMODE_PWM1;
  sConfigOC.Pulse = 0;
  sConfigOC.OCPolarity = TIM_OCPOLARITY_HIGH;
  sConfigOC.OCNPolarity = TIM_OCNPOLARITY_HIGH;
  sConfigOC.OCFastMode = TIM_OCFAST_ENABLE;
  sConfigOC.OCIdleState = TIM_OCIDLESTATE_RESET;
  sConfigOC.OCNIdleState = TIM_OCNIDLESTATE_RESET;
  if (HAL_TIM_PWM_ConfigChannel(&htim1, &sConfigOC, TIM_CHANNEL_1) != HAL_OK)
  {
    Error_Handler();
  }
  sConfigOC.OCMode = TIM_OCMODE_PWM2;
  if (HAL_TIM_PWM_ConfigChannel(&htim1, &sConfigOC, TIM_CHANNEL_2) != HAL_OK)
  {
    Error_Handler();
  }
  sConfigOC.OCMode = TIM_OCMODE_PWM1;
  if (HAL_TIM_PWM_ConfigChannel(&htim1, &sConfigOC, TIM_CHANNEL_3) != HAL_OK)
  {
    Error_Handler();
  }
  sConfigOC.OCMode = TIM_OCMODE_PWM2;
  if (HAL_TIM_PWM_ConfigChannel(&htim1, &sConfigOC, TIM_CHANNEL_4) != HAL_OK)
  {
    Error_Handler();
  }
  sBreakDeadTimeConfig.OffStateRunMode = TIM_OSSR_DISABLE;
  sBreakDeadTimeConfig.OffStateIDLEMode = TIM_OSSI_DISABLE;
  sBreakDeadTimeConfig.LockLevel = TIM_LOCKLEVEL_OFF;
  sBreakDeadTimeConfig.DeadTime = 139;
  sBreakDeadTimeConfig.BreakState = TIM_BREAK_DISABLE;
  sBreakDeadTimeConfig.BreakPolarity = TIM_BREAKPOLARITY_HIGH;
  sBreakDeadTimeConfig.BreakFilter = 0;
  sBreakDeadTimeConfig.BreakAFMode = TIM_BREAK_AFMODE_INPUT;
  sBreakDeadTimeConfig.Break2State = TIM_BREAK2_DISABLE;
  sBreakDeadTimeConfig.Break2Polarity = TIM_BREAK2POLARITY_HIGH;
  sBreakDeadTimeConfig.Break2Filter = 0;
  sBreakDeadTimeConfig.Break2AFMode = TIM_BREAK_AFMODE_INPUT;
  sBreakDeadTimeConfig.AutomaticOutput = TIM_AUTOMATICOUTPUT_ENABLE;
  if (HAL_TIMEx_ConfigBreakDeadTime(&htim1, &sBreakDeadTimeConfig) != HAL_OK)
  {
    Error_Handler();
  }
  /* USER CODE BEGIN TIM1_Init 2 */
	// LEVEL_3
	//	CH1 = CH2 = PWM Mode 1
	// LEVEL_2
	//	CH1 = PWM Mode 1, CH2 = PWM Mode 2!
	// Variablen
	char msg_console[80]; // array für Ausgabe
	int level = get_level();
	int stufen = get_stufen();

	switch (stufen) {
	case 1:
		switch (level) {
		case 2:
			sConfigOC.OCMode = TIM_OCMODE_PWM2;
			if (HAL_TIM_PWM_ConfigChannel(&htim1, &sConfigOC, TIM_CHANNEL_2)
					!= HAL_OK) {
				Error_Handler();
			}
			break;
		case 3:
			sConfigOC.OCMode = TIM_OCMODE_PWM1;
			if (HAL_TIM_PWM_ConfigChannel(&htim1, &sConfigOC, TIM_CHANNEL_2)
					!= HAL_OK) {
				Error_Handler();
			}
			break;
		default:
			sprintf(msg_console, "Error: Level 2-3 moeglich!");
			break;
		}
		break;
	case 2:
		switch (level) {
		case 2:
			sConfigOC.OCMode = TIM_OCMODE_PWM2;
			if (HAL_TIM_PWM_ConfigChannel(&htim1, &sConfigOC, TIM_CHANNEL_2)
					!= HAL_OK) {
				Error_Handler();
			}
			if (HAL_TIM_PWM_ConfigChannel(&htim1, &sConfigOC, TIM_CHANNEL_4)
					!= HAL_OK) {
				Error_Handler();
			}
			break;
		case 3:
			sConfigOC.OCMode = TIM_OCMODE_PWM1;
			if (HAL_TIM_PWM_ConfigChannel(&htim1, &sConfigOC, TIM_CHANNEL_2)
					!= HAL_OK) {
				Error_Handler();
			}
			if (HAL_TIM_PWM_ConfigChannel(&htim1, &sConfigOC, TIM_CHANNEL_4)
					!= HAL_OK) {
				Error_Handler();
			}
			break;
		default:
			sprintf(msg_console, "Error: Level 2-3 moeglich!");
			break;
		}
		break;
	case 3:
		switch (level) {
		case 2:
			sConfigOC.OCMode = TIM_OCMODE_PWM2;
			if (HAL_TIM_PWM_ConfigChannel(&htim1, &sConfigOC, TIM_CHANNEL_2)
					!= HAL_OK) {
				Error_Handler();
			}
			if (HAL_TIM_PWM_ConfigChannel(&htim1, &sConfigOC, TIM_CHANNEL_4)
					!= HAL_OK) {
				Error_Handler();
			}
			break;
		case 3:
			sConfigOC.OCMode = TIM_OCMODE_PWM1;
			if (HAL_TIM_PWM_ConfigChannel(&htim1, &sConfigOC, TIM_CHANNEL_2)
					!= HAL_OK) {
				Error_Handler();
			}
			if (HAL_TIM_PWM_ConfigChannel(&htim1, &sConfigOC, TIM_CHANNEL_4)
					!= HAL_OK) {
				Error_Handler();
			}
			break;
		default:
			sprintf(msg_console, "Error: Level 2-3 moeglich!");
			break;
		}
	default:
		break;
	}
	// PuTTY Ausgabe
	HAL_UART_Transmit(&huart2, (uint8_t*) msg_console, strlen(msg_console),
			HAL_MAX_DELAY);
  /* USER CODE END TIM1_Init 2 */
  HAL_TIM_MspPostInit(&htim1);

}

static void MX_TIM8_Init(void)
{

  TIM_ClockConfigTypeDef sClockSourceConfig = {0};
  TIM_SlaveConfigTypeDef sSlaveConfig = {0};
  TIM_MasterConfigTypeDef sMasterConfig = {0};
  TIM_OC_InitTypeDef sConfigOC = {0};
  TIM_BreakDeadTimeConfigTypeDef sBreakDeadTimeConfig = {0};

  htim8.Instance = TIM8;
  htim8.Init.Prescaler = 0;
  htim8.Init.CounterMode = TIM_COUNTERMODE_CENTERALIGNED2;
  htim8.Init.Period = 3749;
  htim8.Init.ClockDivision = TIM_CLOCKDIVISION_DIV1;
  htim8.Init.RepetitionCounter = 0;
  htim8.Init.AutoReloadPreload = TIM_AUTORELOAD_PRELOAD_ENABLE;
  if (HAL_TIM_Base_Init(&htim8) != HAL_OK)
  {
    Error_Handler();
  }
  sClockSourceConfig.ClockSource = TIM_CLOCKSOURCE_INTERNAL;
  if (HAL_TIM_ConfigClockSource(&htim8, &sClockSourceConfig) != HAL_OK)
  {
    Error_Handler();
  }
  if (HAL_TIM_PWM_Init(&htim8) != HAL_OK)
  {
    Error_Handler();
  }
  sSlaveConfig.SlaveMode = TIM_SLAVEMODE_TRIGGER;
  sSlaveConfig.InputTrigger = TIM_TS_ITR9;
  if (HAL_TIM_SlaveConfigSynchro(&htim8, &sSlaveConfig) != HAL_OK)
  {
    Error_Handler();
  }
  sMasterConfig.MasterOutputTrigger = TIM_TRGO_RESET;
  sMasterConfig.MasterOutputTrigger2 = TIM_TRGO2_RESET;
  sMasterConfig.MasterSlaveMode = TIM_MASTERSLAVEMODE_DISABLE;
  if (HAL_TIMEx_MasterConfigSynchronization(&htim8, &sMasterConfig) != HAL_OK)
  {
    Error_Handler();
  }
  sConfigOC.OCMode = TIM_OCMODE_PWM1;
  sConfigOC.Pulse = 0;
  sConfigOC.OCPolarity = TIM_OCPOLARITY_HIGH;
  sConfigOC.OCNPolarity = TIM_OCNPOLARITY_HIGH;
  sConfigOC.OCFastMode = TIM_OCFAST_ENABLE;
  sConfigOC.OCIdleState = TIM_OCIDLESTATE_RESET;
  sConfigOC.OCNIdleState = TIM_OCNIDLESTATE_RESET;
  if (HAL_TIM_PWM_ConfigChannel(&htim8, &sConfigOC, TIM_CHANNEL_1) != HAL_OK)
  {
    Error_Handler();
  }
  sConfigOC.OCMode = TIM_OCMODE_PWM2;
  if (HAL_TIM_PWM_ConfigChannel(&htim8, &sConfigOC, TIM_CHANNEL_2) != HAL_OK)
  {
    Error_Handler();
  }
  sBreakDeadTimeConfig.OffStateRunMode = TIM_OSSR_DISABLE;
  sBreakDeadTimeConfig.OffStateIDLEMode = TIM_OSSI_DISABLE;
  sBreakDeadTimeConfig.LockLevel = TIM_LOCKLEVEL_OFF;
  sBreakDeadTimeConfig.DeadTime = 139;
  sBreakDeadTimeConfig.BreakState = TIM_BREAK_DISABLE;
  sBreakDeadTimeConfig.BreakPolarity = TIM_BREAKPOLARITY_HIGH;
  sBreakDeadTimeConfig.BreakFilter = 0;
  sBreakDeadTimeConfig.BreakAFMode = TIM_BREAK_AFMODE_INPUT;
  sBreakDeadTimeConfig.Break2State = TIM_BREAK2_DISABLE;
  sBreakDeadTimeConfig.Break2Polarity = TIM_BREAK2POLARITY_HIGH;
  sBreakDeadTimeConfig.Break2Filter = 0;
  sBreakDeadTimeConfig.Break2AFMode = TIM_BREAK_AFMODE_INPUT;
  sBreakDeadTimeConfig.AutomaticOutput = TIM_AUTOMATICOUTPUT_ENABLE;
  if (HAL_TIMEx_ConfigBreakDeadTime(&htim8, &sBreakDeadTimeConfig) != HAL_OK)
  {
    Error_Handler();
  }
  /* USER CODE BEGIN TIM8_Init 2 */
	// LEVEL_3
	//	CH1 = CH2 = PWM Mode 1
	// LEVEL_2
	//	CH1 = PWM Mode 1, CH2 = PWM Mode 2!
	// Variablen
  	char msg_console[80]; // array für Ausgabe
	int level = get_level();
	int stufen = get_stufen();
	switch (stufen) {
	case 3:
		switch (level) {
		case 2:
			sConfigOC.OCMode = TIM_OCMODE_PWM2;
			if (HAL_TIM_PWM_ConfigChannel(&htim8, &sConfigOC, TIM_CHANNEL_2)
					!= HAL_OK) {
				Error_Handler();
			}
			break;
		case 3:
			sConfigOC.OCMode = TIM_OCMODE_PWM1;
			if (HAL_TIM_PWM_ConfigChannel(&htim8, &sConfigOC, TIM_CHANNEL_2)
					!= HAL_OK) {
				Error_Handler();
			}
			break;
		default:
			sprintf(msg_console, "Error: Level 2-3 moeglich!");
			break;
		}
		break;
	case 4:
		break;
	default:
		break;
	}
  /* USER CODE END TIM8_Init 2 */
  HAL_TIM_MspPostInit(&htim8);

}

static void MX_TIM15_Init(void)
{

  TIM_ClockConfigTypeDef sClockSourceConfig = {0};
  TIM_MasterConfigTypeDef sMasterConfig = {0};

  htim15.Instance = TIM15;
  htim15.Init.Prescaler = 0;
  htim15.Init.CounterMode = TIM_COUNTERMODE_UP;
  htim15.Init.Period = 7499;
  htim15.Init.ClockDivision = TIM_CLOCKDIVISION_DIV1;
  htim15.Init.RepetitionCounter = 0;
  htim15.Init.AutoReloadPreload = TIM_AUTORELOAD_PRELOAD_DISABLE;
  if (HAL_TIM_Base_Init(&htim15) != HAL_OK)
  {
    Error_Handler();
  }
  sClockSourceConfig.ClockSource = TIM_CLOCKSOURCE_INTERNAL;
  if (HAL_TIM_ConfigClockSource(&htim15, &sClockSourceConfig) != HAL_OK)
  {
    Error_Handler();
  }
  sMasterConfig.MasterOutputTrigger = TIM_TRGO_UPDATE;
  sMasterConfig.MasterSlaveMode = TIM_MASTERSLAVEMODE_ENABLE;
  if (HAL_TIMEx_MasterConfigSynchronization(&htim15, &sMasterConfig) != HAL_OK)
  {
    Error_Handler();
  }

}

static void MX_TIM16_Init(void)
{

  htim16.Instance = TIM16;
  htim16.Init.Prescaler = 15000 - 1;
  htim16.Init.CounterMode = TIM_COUNTERMODE_UP;
  htim16.Init.Period = 1000;
  htim16.Init.ClockDivision = TIM_CLOCKDIVISION_DIV1;
  htim16.Init.RepetitionCounter = 0;
  htim16.Init.AutoReloadPreload = TIM_AUTORELOAD_PRELOAD_DISABLE;
  if (HAL_TIM_Base_Init(&htim16) != HAL_OK)
  {
    Error_Handler();
  }

}

static void MX_TIM17_Init(void)
{

  htim17.Instance = TIM17;
  htim17.Init.Prescaler = 15000-1;
  htim17.Init.CounterMode = TIM_COUNTERMODE_UP;
  htim17.Init.Period = 5000;
  htim17.Init.ClockDivision = TIM_CLOCKDIVISION_DIV1;
  htim17.Init.RepetitionCounter = 0;
  htim17.Init.AutoReloadPreload = TIM_AUTORELOAD_PRELOAD_DISABLE;
  if (HAL_TIM_Base_Init(&htim17) != HAL_OK)
  {
    Error_Handler();
  }

}

static void MX_TIM20_Init(void)
{

  TIM_ClockConfigTypeDef sClockSourceConfig = {0};
  TIM_MasterConfigTypeDef sMasterConfig = {0};
  TIM_OC_InitTypeDef sConfigOC = {0};
  TIM_BreakDeadTimeConfigTypeDef sBreakDeadTimeConfig = {0};

  htim20.Instance = TIM20;
  htim20.Init.Prescaler = 0;
  htim20.Init.CounterMode = TIM_COUNTERMODE_CENTERALIGNED2;
  htim20.Init.Period = 3749;
  htim20.Init.ClockDivision = TIM_CLOCKDIVISION_DIV1;
  htim20.Init.RepetitionCounter = 0;
  htim20.Init.AutoReloadPreload = TIM_AUTORELOAD_PRELOAD_DISABLE;
  if (HAL_TIM_Base_Init(&htim20) != HAL_OK)
  {
    Error_Handler();
  }
  sClockSourceConfig.ClockSource = TIM_CLOCKSOURCE_INTERNAL;
  if (HAL_TIM_ConfigClockSource(&htim20, &sClockSourceConfig) != HAL_OK)
  {
    Error_Handler();
  }
  if (HAL_TIM_PWM_Init(&htim20) != HAL_OK)
  {
    Error_Handler();
  }
  sMasterConfig.MasterOutputTrigger = TIM_TRGO_ENABLE;
  sMasterConfig.MasterOutputTrigger2 = TIM_TRGO2_RESET;
  sMasterConfig.MasterSlaveMode = TIM_MASTERSLAVEMODE_DISABLE;
  if (HAL_TIMEx_MasterConfigSynchronization(&htim20, &sMasterConfig) != HAL_OK)
  {
    Error_Handler();
  }
  sConfigOC.OCMode = TIM_OCMODE_PWM1;
  sConfigOC.Pulse = 1874;
  sConfigOC.OCPolarity = TIM_OCPOLARITY_LOW;
  sConfigOC.OCNPolarity = TIM_OCNPOLARITY_HIGH;
  sConfigOC.OCFastMode = TIM_OCFAST_DISABLE;
  sConfigOC.OCIdleState = TIM_OCIDLESTATE_RESET;
  sConfigOC.OCNIdleState = TIM_OCNIDLESTATE_RESET;
  if (HAL_TIM_PWM_ConfigChannel(&htim20, &sConfigOC, TIM_CHANNEL_3) != HAL_OK)
  {
    Error_Handler();
  }
  sBreakDeadTimeConfig.OffStateRunMode = TIM_OSSR_DISABLE;
  sBreakDeadTimeConfig.OffStateIDLEMode = TIM_OSSI_DISABLE;
  sBreakDeadTimeConfig.LockLevel = TIM_LOCKLEVEL_OFF;
  sBreakDeadTimeConfig.DeadTime = 0;
  sBreakDeadTimeConfig.BreakState = TIM_BREAK_DISABLE;
  sBreakDeadTimeConfig.BreakPolarity = TIM_BREAKPOLARITY_HIGH;
  sBreakDeadTimeConfig.BreakFilter = 0;
  sBreakDeadTimeConfig.BreakAFMode = TIM_BREAK_AFMODE_INPUT;
  sBreakDeadTimeConfig.Break2State = TIM_BREAK2_DISABLE;
  sBreakDeadTimeConfig.Break2Polarity = TIM_BREAK2POLARITY_HIGH;
  sBreakDeadTimeConfig.Break2Filter = 0;
  sBreakDeadTimeConfig.Break2AFMode = TIM_BREAK_AFMODE_INPUT;
  sBreakDeadTimeConfig.AutomaticOutput = TIM_AUTOMATICOUTPUT_DISABLE;
  if (HAL_TIMEx_ConfigBreakDeadTime(&htim20, &sBreakDeadTimeConfig) != HAL_OK)
  {
    Error_Handler();
  }
  HAL_TIM_MspPostInit(&htim20);

}

static void MX_USART2_UART_Init(void)
{

  huart2.Instance = USART2;
  huart2.Init.BaudRate = 115200;
  huart2.Init.WordLength = UART_WORDLENGTH_8B;
  huart2.Init.StopBits = UART_STOPBITS_1;
  huart2.Init.Parity = UART_PARITY_NONE;
  huart2.Init.Mode = UART_MODE_TX_RX;
  huart2.Init.HwFlowCtl = UART_HWCONTROL_NONE;
  huart2.Init.OverSampling = UART_OVERSAMPLING_16;
  huart2.Init.OneBitSampling = UART_ONE_BIT_SAMPLE_DISABLE;
  huart2.Init.ClockPrescaler = UART_PRESCALER_DIV1;
  huart2.AdvancedInit.AdvFeatureInit = UART_ADVFEATURE_NO_INIT;
  if (HAL_UART_Init(&huart2) != HAL_OK)
  {
    Error_Handler();
  }
  if (HAL_UARTEx_SetTxFifoThreshold(&huart2, UART_TXFIFO_THRESHOLD_1_8) != HAL_OK)
  {
    Error_Handler();
  }
  if (HAL_UARTEx_SetRxFifoThreshold(&huart2, UART_RXFIFO_THRESHOLD_1_8) != HAL_OK)
  {
    Error_Handler();
  }
  if (HAL_UARTEx_DisableFifoMode(&huart2) != HAL_OK)
  {
    Error_Handler();
  }

}

static void MX_DMA_Init(void)
{

  /* DMA controller clock enable */
  __HAL_RCC_DMAMUX1_CLK_ENABLE();
  __HAL_RCC_DMA2_CLK_ENABLE();
  __HAL_RCC_DMA1_CLK_ENABLE();

  /* DMA interrupt init */
  /* DMA1_Channel1_IRQn interrupt configuration */
  HAL_NVIC_SetPriority(DMA1_Channel1_IRQn, 0, 0);
  HAL_NVIC_EnableIRQ(DMA1_Channel1_IRQn);
  /* DMA1_Channel2_IRQn interrupt configuration */
  HAL_NVIC_SetPriority(DMA1_Channel2_IRQn, 0, 0);
  HAL_NVIC_EnableIRQ(DMA1_Channel2_IRQn);
  /* DMA1_Channel3_IRQn interrupt configuration */
  HAL_NVIC_SetPriority(DMA1_Channel3_IRQn, 0, 0);
  HAL_NVIC_EnableIRQ(DMA1_Channel3_IRQn);
  /* DMA1_Channel4_IRQn interrupt configuration */
  HAL_NVIC_SetPriority(DMA1_Channel4_IRQn, 0, 0);
  HAL_NVIC_EnableIRQ(DMA1_Channel4_IRQn);
  /* DMA1_Channel5_IRQn interrupt configuration */
  HAL_NVIC_SetPriority(DMA1_Channel5_IRQn, 0, 0);
  HAL_NVIC_EnableIRQ(DMA1_Channel5_IRQn);
  /* DMA1_Channel6_IRQn interrupt configuration */
  HAL_NVIC_SetPriority(DMA1_Channel6_IRQn, 0, 0);
  HAL_NVIC_EnableIRQ(DMA1_Channel6_IRQn);
  /* DMA1_Channel7_IRQn interrupt configuration */
  HAL_NVIC_SetPriority(DMA1_Channel7_IRQn, 0, 0);
  HAL_NVIC_EnableIRQ(DMA1_Channel7_IRQn);
  /* DMA2_Channel1_IRQn interrupt configuration */
  HAL_NVIC_SetPriority(DMA2_Channel1_IRQn, 0, 0);
  HAL_NVIC_EnableIRQ(DMA2_Channel1_IRQn);

}

static void MX_GPIO_Init(void)
{
  GPIO_InitTypeDef GPIO_InitStruct = {0};

  /* GPIO Ports Clock Enable */
  __HAL_RCC_GPIOC_CLK_ENABLE();
  __HAL_RCC_GPIOF_CLK_ENABLE();
  __HAL_RCC_GPIOA_CLK_ENABLE();
  __HAL_RCC_GPIOB_CLK_ENABLE();

  /*Configure GPIO pin Output Level */
  HAL_GPIO_WritePin(GPIOC, GPIO_PIN_3|GPIO_PIN_4, GPIO_PIN_RESET);

  /*Configure GPIO pin Output Level */
  HAL_GPIO_WritePin(GPIOA, LD2_Pin|SPI1_RST_Pin|SPI1_CS_Pin, GPIO_PIN_RESET);

  /*Configure GPIO pin Output Level */
  HAL_GPIO_WritePin(SPI1_DC_GPIO_Port, SPI1_DC_Pin, GPIO_PIN_RESET);

  /*Configure GPIO pin : B1_EXTI13_Pin */
  GPIO_InitStruct.Pin = B1_EXTI13_Pin;
  GPIO_InitStruct.Mode = GPIO_MODE_IT_RISING;
  GPIO_InitStruct.Pull = GPIO_NOPULL;
  HAL_GPIO_Init(B1_EXTI13_GPIO_Port, &GPIO_InitStruct);

  /*Configure GPIO pin : PC3 */
  GPIO_InitStruct.Pin = GPIO_PIN_3;
  GPIO_InitStruct.Mode = GPIO_MODE_OUTPUT_PP;
  GPIO_InitStruct.Pull = GPIO_PULLDOWN;
  GPIO_InitStruct.Speed = GPIO_SPEED_FREQ_LOW;
  HAL_GPIO_Init(GPIOC, &GPIO_InitStruct);

  /*Configure GPIO pins : LD2_Pin SPI1_RST_Pin SPI1_CS_Pin */
  GPIO_InitStruct.Pin = LD2_Pin|SPI1_RST_Pin|SPI1_CS_Pin;
  GPIO_InitStruct.Mode = GPIO_MODE_OUTPUT_PP;
  GPIO_InitStruct.Pull = GPIO_NOPULL;
  GPIO_InitStruct.Speed = GPIO_SPEED_FREQ_LOW;
  HAL_GPIO_Init(GPIOA, &GPIO_InitStruct);

  /*Configure GPIO pin : PC4 */
  GPIO_InitStruct.Pin = GPIO_PIN_4;
  GPIO_InitStruct.Mode = GPIO_MODE_OUTPUT_PP;
  GPIO_InitStruct.Pull = GPIO_NOPULL;
  GPIO_InitStruct.Speed = GPIO_SPEED_FREQ_LOW;
  HAL_GPIO_Init(GPIOC, &GPIO_InitStruct);

  /*Configure GPIO pins : Tast1_EXTI1_Pin Tast2_EXTI2_Pin */
  GPIO_InitStruct.Pin = Tast1_EXTI1_Pin|Tast2_EXTI2_Pin;
  GPIO_InitStruct.Mode = GPIO_MODE_IT_RISING;
  GPIO_InitStruct.Pull = GPIO_PULLDOWN;
  HAL_GPIO_Init(GPIOB, &GPIO_InitStruct);

  /*Configure GPIO pin : SPI1_DC_Pin */
  GPIO_InitStruct.Pin = SPI1_DC_Pin;
  GPIO_InitStruct.Mode = GPIO_MODE_OUTPUT_PP;
  GPIO_InitStruct.Pull = GPIO_NOPULL;
  GPIO_InitStruct.Speed = GPIO_SPEED_FREQ_LOW;
  HAL_GPIO_Init(SPI1_DC_GPIO_Port, &GPIO_InitStruct);

  /* EXTI interrupt init*/
  HAL_NVIC_SetPriority(EXTI1_IRQn, 0, 0);
  HAL_NVIC_EnableIRQ(EXTI1_IRQn);

  HAL_NVIC_SetPriority(EXTI2_IRQn, 0, 0);
  HAL_NVIC_EnableIRQ(EXTI2_IRQn);

  HAL_NVIC_SetPriority(EXTI15_10_IRQn, 0, 0);
  HAL_NVIC_EnableIRQ(EXTI15_10_IRQn);

}

void Error_Handler(void)
{
	__disable_irq();
	while (1) {
	}
}
